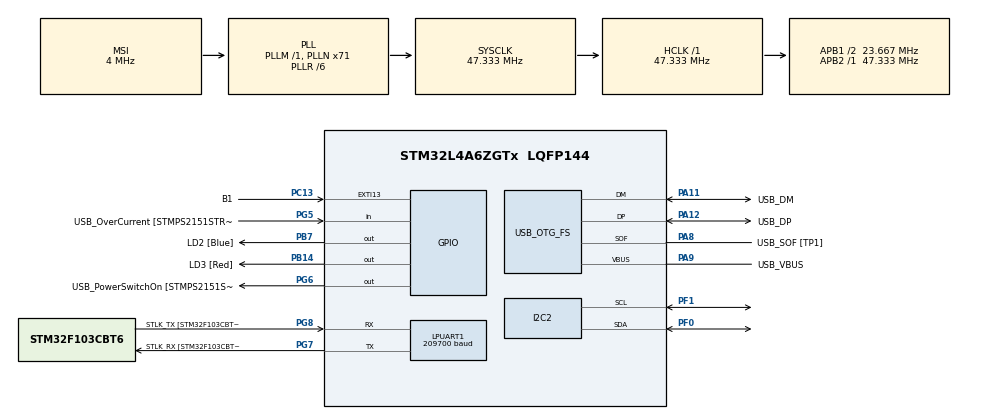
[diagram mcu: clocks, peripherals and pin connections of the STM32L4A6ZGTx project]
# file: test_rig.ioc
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I2C2.Timing=0x00805B85
LPUART1.AutoBaudRateEnableParam=UART_ADVFEATURE_AUTOBAUDRATE_DISABLE
LPUART1.BaudRate=209700
LPUART1.DMADisableonRxErrorParam=UART_ADVFEATURE_DMA_ENABLEONRXERROR
LPUART1.DataInvertParam=UART_ADVFEATURE_DATAINV_DISABLE
LPUART1.MSBFirstParam=UART_ADVFEATURE_MSBFIRST_DISABLE
LPUART1.Mode=UART_MODE_TX_RX
LPUART1.OneBitSampling=UART_ONE_BIT_SAMPLE_DISABLE
LPUART1.OverrunDisableParam=UART_ADVFEATURE_OVERRUN_ENABLE
LPUART1.Parity=UART_PARITY_NONE
LPUART1.RxPinLevelInvertParam=UART_ADVFEATURE_RXINV_DISABLE
LPUART1.StopBits=UART_STOPBITS_1
LPUART1.SwapParam=UART_ADVFEATURE_SWAP_DISABLE
LPUART1.TxPinLevelInvertParam=UART_ADVFEATURE_TXINV_DISABLE
LPUART1.WordLength=UART_WORDLENGTH_7B
Mcu.Family=STM32L4
Mcu.Name=STM32L4A6ZGTx
Mcu.Package=LQFP144
NVIC.PriorityGroup=NVIC_PRIORITYGROUP_4
PA10.GPIO_Label=USB_ID
PA10.Signal=USB_OTG_FS_ID
PA11.GPIO_Label=USB_DM
PA11.Mode=Device_Only
PA11.Signal=USB_OTG_FS_DM
PA12.GPIO_Label=USB_DP
PA12.Mode=Device_Only
PA12.Signal=USB_OTG_FS_DP
PA13\ (JTMS/SWDIO).GPIO_Label=TMS
PA13\ (JTMS/SWDIO).Mode=Trace_Asynchronous_SW
PA13\ (JTMS/SWDIO).Signal=SYS_JTMS-SWDIO
PA14\ (JTCK/SWCLK).GPIO_Label=TCK
PA14\ (JTCK/SWCLK).Mode=Trace_Asynchronous_SW
PA14\ (JTCK/SWCLK).Signal=SYS_JTCK-SWCLK
PA8.GPIO_Label=USB_SOF [TP1]
PA8.Mode=Activate_SOF_FS
PA8.Signal=USB_OTG_FS_SOF
PA9.GPIO_Label=USB_VBUS
PA9.Mode=Activate_VBUS
PA9.Signal=USB_OTG_FS_VBUS
PB14.GPIO_Label=LD3 [Red]
PB14.Signal=GPIO_Output
PB3\ (JTDO/TRACESWO).GPIO_Label=SWO
PB3\ (JTDO/TRACESWO).Mode=Trace_Asynchronous_SW
PB3\ (JTDO/TRACESWO).Signal=SYS_JTDO-SWO
PB7.GPIO_Label=LD2 [Blue]
PB7.Signal=GPIO_Output
PC13.GPIO_Label=B1
PC13.Signal=GPXTI13
PC14-OSC32_IN\ (PC14).Mode=LSE-External-Oscillator
PC14-OSC32_IN\ (PC14).Signal=RCC_OSC32_IN
PC15-OSC32_OUT\ (PC15).Mode=LSE-External-Oscillator
PC15-OSC32_OUT\ (PC15).Signal=RCC_OSC32_OUT
PF0.Mode=I2C
PF0.Signal=I2C2_SDA
PF1.Mode=I2C
PF1.Signal=I2C2_SCL
PG5.GPIO_Label=USB_OverCurrent [STMPS2151STR_FAULT]
PG5.Signal=GPIO_Input
PG6.GPIO_Label=USB_PowerSwitchOn [STMPS2151STR_EN]
PG6.Signal=GPIO_Output
PG7.GPIO_Label=STLK_RX [STM32F103CBT6_PA3]
PG7.Mode=Asynchronous
PG7.Signal=LPUART1_TX
PG8.GPIO_Label=STLK_TX [STM32F103CBT6_PA2]
PG8.Mode=Asynchronous
PG8.Signal=LPUART1_RX
PH1-OSC_OUT\ (PH1).Signal=RCC_OSC_OUT
ProjectManager.HeapSize=0x200
ProjectManager.StackSize=0x400
ProjectManager.TargetToolchain=STM32CubeIDE
RCC.ADCFreq_Value=48000000
RCC.AHBFreq_Value=47333333.333333336
RCC.APB1CLKDivider=RCC_HCLK_DIV2
RCC.APB1Freq_Value=23666666.666666668
RCC.APB1TimFreq_Value=47333333.333333336
RCC.APB2Freq_Value=47333333.333333336
RCC.APB2TimFreq_Value=47333333.333333336
RCC.CortexFreq_Value=47333333.333333336
RCC.FLatency=FLASH_LATENCY_2
RCC.HCLKFreq_Value=47333333.333333336
RCC.HSE_VALUE=8000000
RCC.HSI48_VALUE=48000000
RCC.HSI_VALUE=16000000
RCC.MSI_VALUE=4000000
RCC.PLLN=71
RCC.PLLR=RCC_PLLR_DIV6
RCC.PLLSAI1N=24
RCC.SYSCLKFreq_VALUE=47333333.333333336
RCC.SYSCLKSource=RCC_SYSCLKSOURCE_PLLCLK
RCC.USBFreq_Value=48000000
RCC.VCOOutputFreq_Value=284000000
USB_OTG_FS.Sof_enable=ENABLE
USB_OTG_FS.VirtualMode=Device_Only
USB_OTG_FS.battery_charging_enable=ENABLE
USB_OTG_FS.low_power_enable=DISABLE
USB_OTG_FS.lpm_enable=DISABLE
USB_OTG_FS.use_dedicated_ep1=DISABLE
USB_OTG_FS.vbus_sensing_enable=ENABLE
board=NUCLEO-L4A6ZG

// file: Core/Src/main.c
/* USER CODE BEGIN Header */
/**
  ******************************************************************************
  * @file           : main.c
  * @brief          : Main program body
  ******************************************************************************
  * @attention
  *
  * Copyright (c) 2026 STMicroelectronics.
  * All rights reserved.
  *
  * This software is licensed under terms that can be found in the LICENSE file
  * in the root directory of this software component.
  * If no LICENSE file comes with this software, it is provided AS-IS.
  *
  * SENSOR WIRING INSTRUCTIONS
 * I2C Bus: I2C2, SDA = PF0, SCL = PF1
 * Supply: 3.3V, Pull-ups: 4.7k ohm from SDA to 3.3V and SCL to 3.3V
 * =============================================================================
 *
 * SHT41A (Temperature/Humidity) - I2C Address 0x44
 * -----------------------------------------------
 * SHT41A (Temperature/Humidity) - I2C Address 0x44
 * Breakout connector J1:
 * Pin 1 -> GND
 * Pin 2 -> PF0 (I2C2_SDA)
 * Pin 3 -> PF1 (I2C2_SCL)
 * Pin 4 -> 3.3V
 *
 * SGP41 (VOC/NOx) - I2C Address 0x59
 * Breakout connector J1:
 * Pin 1 -> GND
 * Pin 2 -> PF1 (I2C2_SCL)
 * Pin 3 -> PF0 (I2C2_SDA)
 * Pin 4 -> 3.3V
 *
 * SCD41 (CO2/Temperature/Humidity) - I2C Address 0x62
 * Breakout connector J1:
 * Pin 1 -> GND
 * Pin 2 -> PF1 (I2C2_SCL)
 * Pin 3 -> PF0 (I2C2_SDA)
 * Pin 4 -> 3.3V
 *
  ******************************************************************************

  */
/* USER CODE END Header */
#include "main.h"

/* USER CODE BEGIN Includes */
#include "sensirion_crc.h"
#include "sht41a.h"
#include "sgp41.h"
#include "scd41.h"
#include <stdio.h>
#include <string.h>
/* USER CODE END Includes */

I2C_HandleTypeDef hi2c2;

UART_HandleTypeDef hlpuart1;

PCD_HandleTypeDef hpcd_USB_OTG_FS;

/* USER CODE BEGIN PV */
static char uart_buf[128];
/* USER CODE END PV */

void SystemClock_Config(void);
static void MX_GPIO_Init(void);
static void MX_LPUART1_UART_Init(void);
static void MX_USB_OTG_FS_PCD_Init(void);
static void MX_I2C2_Init(void);

/* USER CODE BEGIN 0 */
static void uart_print(const char *str)
{
    HAL_UART_Transmit(&hlpuart1, (uint8_t *)str, strlen(str), HAL_MAX_DELAY);
}
/* USER CODE END 0 */

int main(void)
{

  /* MCU Configuration--------------------------------------------------------*/

  /* Reset of all peripherals, Initializes the Flash interface and the Systick. */
  HAL_Init();

  /* Configure the system clock */
  SystemClock_Config();

  /* Initialize all configured peripherals */
  MX_GPIO_Init();
  MX_LPUART1_UART_Init();
  MX_USB_OTG_FS_PCD_Init();
  MX_I2C2_Init();
  /* USER CODE BEGIN 2 */
  HAL_StatusTypeDef ret;
  sht41a_data_t sht_data;
  sgp41_raw_t sgp_raw;
  scd41_data_t scd_data;
  uint16_t sgp_voc_cond;

  uart_print("Initializing sensors...\r\n");

  /* SCD41: stop any ongoing measurement before configuring */
  scd41_stop_periodic(&hi2c2);

  /* SGP41: run conditioning for exactly 10s */
  uart_print("SGP41 conditioning (10s)...\r\n");
  for (int i = 0; i < 10; i++) {
      ret = sgp41_conditioning(&hi2c2, &sgp_voc_cond);
      if (ret != HAL_OK) {
          uart_print("SGP41 conditioning failed\r\n");
      }
      HAL_Delay(950); /* 50ms spent in conditioning call, ~1s total per iteration */
  }

  /* SCD41: start periodic measurement (5s interval) */
  ret = scd41_start_periodic(&hi2c2);
  if (ret != HAL_OK) uart_print("SCD41 start failed\r\n");

  uart_print("Init complete\r\n");
  /* USER CODE END 2 */

  /* Infinite loop */
  while (1)
  {

    /* USER CODE BEGIN 3 */
    /* SHT41A: measure at high repeatability */
    ret = sht41a_measure(&hi2c2, SHT41A_CMD_MEAS_HIGH, SHT41A_DELAY_HIGH_MS, &sht_data);
    if (ret == HAL_OK) {
        snprintf(uart_buf, sizeof(uart_buf), "SHT41A: T=%.2f C  RH=%.2f%%\r\n",
                 sht_data.temperature_c, sht_data.humidity_pct);
        uart_print(uart_buf);
    } else {
        uart_print("SHT41A read failed\r\n");
    }

    /* SGP41: measure raw with live compensation */
    ret = sgp41_measure_raw(&hi2c2, sht_data.humidity_pct, sht_data.temperature_c, &sgp_raw);
    if (ret == HAL_OK) {
        snprintf(uart_buf, sizeof(uart_buf), "SGP41:  VOC=%u  NOx=%u\r\n",
                 sgp_raw.sraw_voc, sgp_raw.sraw_nox);
        uart_print(uart_buf);
    } else {
        uart_print("SGP41 read failed\r\n");
    }

    /* SCD41: check ready flag then read */
    uint8_t ready = 0;
    scd41_data_ready(&hi2c2, &ready);
    if (ready) {
        ret = scd41_read_measurement(&hi2c2, &scd_data);
        if (ret == HAL_OK) {
            snprintf(uart_buf, sizeof(uart_buf), "SCD41:  CO2=%u ppm  T=%.2f C  RH=%.2f%%\r\n",
                     scd_data.co2_ppm, scd_data.temperature_c, scd_data.humidity_pct);
            uart_print(uart_buf);
        } else {
            uart_print("SCD41 read failed\r\n");
        }
    }

    HAL_Delay(1000);
  }
  /* USER CODE END 3 */
}

void SystemClock_Config(void)
{
  RCC_OscInitTypeDef RCC_OscInitStruct = {0};
  RCC_ClkInitTypeDef RCC_ClkInitStruct = {0};

  /** Configure the main internal regulator output voltage
  */
  if (HAL_PWREx_ControlVoltageScaling(PWR_REGULATOR_VOLTAGE_SCALE1) != HAL_OK)
  {
    Error_Handler();
  }

  /** Configure LSE Drive Capability
  */
  HAL_PWR_EnableBkUpAccess();
  __HAL_RCC_LSEDRIVE_CONFIG(RCC_LSEDRIVE_LOW);

  /** Initializes the RCC Oscillators according to the specified parameters
  * in the RCC_OscInitTypeDef structure.
  */
  RCC_OscInitStruct.OscillatorType = RCC_OSCILLATORTYPE_LSE|RCC_OSCILLATORTYPE_MSI;
  RCC_OscInitStruct.LSEState = RCC_LSE_ON;
  RCC_OscInitStruct.MSIState = RCC_MSI_ON;
  RCC_OscInitStruct.MSICalibrationValue = 0;
  RCC_OscInitStruct.MSIClockRange = RCC_MSIRANGE_6;
  RCC_OscInitStruct.PLL.PLLState = RCC_PLL_ON;
  RCC_OscInitStruct.PLL.PLLSource = RCC_PLLSOURCE_MSI;
  RCC_OscInitStruct.PLL.PLLM = 1;
  RCC_OscInitStruct.PLL.PLLN = 71;
  RCC_OscInitStruct.PLL.PLLP = RCC_PLLP_DIV2;
  RCC_OscInitStruct.PLL.PLLQ = RCC_PLLQ_DIV2;
  RCC_OscInitStruct.PLL.PLLR = RCC_PLLR_DIV6;
  if (HAL_RCC_OscConfig(&RCC_OscInitStruct) != HAL_OK)
  {
    Error_Handler();
  }

  /** Initializes the CPU, AHB and APB buses clocks
  */
  RCC_ClkInitStruct.ClockType = RCC_CLOCKTYPE_HCLK|RCC_CLOCKTYPE_SYSCLK
                              |RCC_CLOCKTYPE_PCLK1|RCC_CLOCKTYPE_PCLK2;
  RCC_ClkInitStruct.SYSCLKSource = RCC_SYSCLKSOURCE_PLLCLK;
  RCC_ClkInitStruct.AHBCLKDivider = RCC_SYSCLK_DIV1;
  RCC_ClkInitStruct.APB1CLKDivider = RCC_HCLK_DIV2;
  RCC_ClkInitStruct.APB2CLKDivider = RCC_HCLK_DIV1;

  if (HAL_RCC_ClockConfig(&RCC_ClkInitStruct, FLASH_LATENCY_2) != HAL_OK)
  {
    Error_Handler();
  }

  /** Enable MSI Auto calibration
  */
  HAL_RCCEx_EnableMSIPLLMode();
}

static void MX_I2C2_Init(void)
{

  hi2c2.Instance = I2C2;
  hi2c2.Init.Timing = 0x00805B85;
  hi2c2.Init.OwnAddress1 = 0;
  hi2c2.Init.AddressingMode = I2C_ADDRESSINGMODE_7BIT;
  hi2c2.Init.DualAddressMode = I2C_DUALADDRESS_DISABLE;
  hi2c2.Init.OwnAddress2 = 0;
  hi2c2.Init.OwnAddress2Masks = I2C_OA2_NOMASK;
  hi2c2.Init.GeneralCallMode = I2C_GENERALCALL_DISABLE;
  hi2c2.Init.NoStretchMode = I2C_NOSTRETCH_DISABLE;
  if (HAL_I2C_Init(&hi2c2) != HAL_OK)
  {
    Error_Handler();
  }

  /** Configure Analogue filter
  */
  if (HAL_I2CEx_ConfigAnalogFilter(&hi2c2, I2C_ANALOGFILTER_ENABLE) != HAL_OK)
  {
    Error_Handler();
  }

  /** Configure Digital filter
  */
  if (HAL_I2CEx_ConfigDigitalFilter(&hi2c2, 0) != HAL_OK)
  {
    Error_Handler();
  }

}

static void MX_LPUART1_UART_Init(void)
{

  hlpuart1.Instance = LPUART1;
  hlpuart1.Init.BaudRate = 209700;
  hlpuart1.Init.WordLength = UART_WORDLENGTH_7B;
  hlpuart1.Init.StopBits = UART_STOPBITS_1;
  hlpuart1.Init.Parity = UART_PARITY_NONE;
  hlpuart1.Init.Mode = UART_MODE_TX_RX;
  hlpuart1.Init.HwFlowCtl = UART_HWCONTROL_NONE;
  hlpuart1.Init.OneBitSampling = UART_ONE_BIT_SAMPLE_DISABLE;
  hlpuart1.AdvancedInit.AdvFeatureInit = UART_ADVFEATURE_NO_INIT;
  if (HAL_UART_Init(&hlpuart1) != HAL_OK)
  {
    Error_Handler();
  }

}

static void MX_USB_OTG_FS_PCD_Init(void)
{

  hpcd_USB_OTG_FS.Instance = USB_OTG_FS;
  hpcd_USB_OTG_FS.Init.dev_endpoints = 6;
  hpcd_USB_OTG_FS.Init.speed = PCD_SPEED_FULL;
  hpcd_USB_OTG_FS.Init.phy_itface = PCD_PHY_EMBEDDED;
  hpcd_USB_OTG_FS.Init.Sof_enable = ENABLE;
  hpcd_USB_OTG_FS.Init.low_power_enable = DISABLE;
  hpcd_USB_OTG_FS.Init.lpm_enable = DISABLE;
  hpcd_USB_OTG_FS.Init.battery_charging_enable = ENABLE;
  hpcd_USB_OTG_FS.Init.use_dedicated_ep1 = DISABLE;
  hpcd_USB_OTG_FS.Init.vbus_sensing_enable = ENABLE;
  if (HAL_PCD_Init(&hpcd_USB_OTG_FS) != HAL_OK)
  {
    Error_Handler();
  }

}

static void MX_GPIO_Init(void)
{
  GPIO_InitTypeDef GPIO_InitStruct = {0};

  /* GPIO Ports Clock Enable */
  __HAL_RCC_GPIOC_CLK_ENABLE();
  __HAL_RCC_GPIOF_CLK_ENABLE();
  __HAL_RCC_GPIOH_CLK_ENABLE();
  __HAL_RCC_GPIOB_CLK_ENABLE();
  __HAL_RCC_GPIOG_CLK_ENABLE();
  HAL_PWREx_EnableVddIO2();
  __HAL_RCC_GPIOA_CLK_ENABLE();

  /*Configure GPIO pin Output Level */
  HAL_GPIO_WritePin(GPIOB, LD3_Pin|LD2_Pin, GPIO_PIN_RESET);

  /*Configure GPIO pin Output Level */
  HAL_GPIO_WritePin(USB_PowerSwitchOn_GPIO_Port, USB_PowerSwitchOn_Pin, GPIO_PIN_RESET);

  /*Configure GPIO pin : B1_Pin */
  GPIO_InitStruct.Pin = B1_Pin;
  GPIO_InitStruct.Mode = GPIO_MODE_IT_RISING;
  GPIO_InitStruct.Pull = GPIO_NOPULL;
  HAL_GPIO_Init(B1_GPIO_Port, &GPIO_InitStruct);

  /*Configure GPIO pins : LD3_Pin LD2_Pin */
  GPIO_InitStruct.Pin = LD3_Pin|LD2_Pin;
  GPIO_InitStruct.Mode = GPIO_MODE_OUTPUT_PP;
  GPIO_InitStruct.Pull = GPIO_NOPULL;
  GPIO_InitStruct.Speed = GPIO_SPEED_FREQ_LOW;
  HAL_GPIO_Init(GPIOB, &GPIO_InitStruct);

  /*Configure GPIO pin : USB_OverCurrent_Pin */
  GPIO_InitStruct.Pin = USB_OverCurrent_Pin;
  GPIO_InitStruct.Mode = GPIO_MODE_INPUT;
  GPIO_InitStruct.Pull = GPIO_NOPULL;
  HAL_GPIO_Init(USB_OverCurrent_GPIO_Port, &GPIO_InitStruct);

  /*Configure GPIO pin : USB_PowerSwitchOn_Pin */
  GPIO_InitStruct.Pin = USB_PowerSwitchOn_Pin;
  GPIO_InitStruct.Mode = GPIO_MODE_OUTPUT_PP;
  GPIO_InitStruct.Pull = GPIO_NOPULL;
  GPIO_InitStruct.Speed = GPIO_SPEED_FREQ_LOW;
  HAL_GPIO_Init(USB_PowerSwitchOn_GPIO_Port, &GPIO_InitStruct);

}

void Error_Handler(void)
{
  __disable_irq();
  while (1)
  {
  }
}
